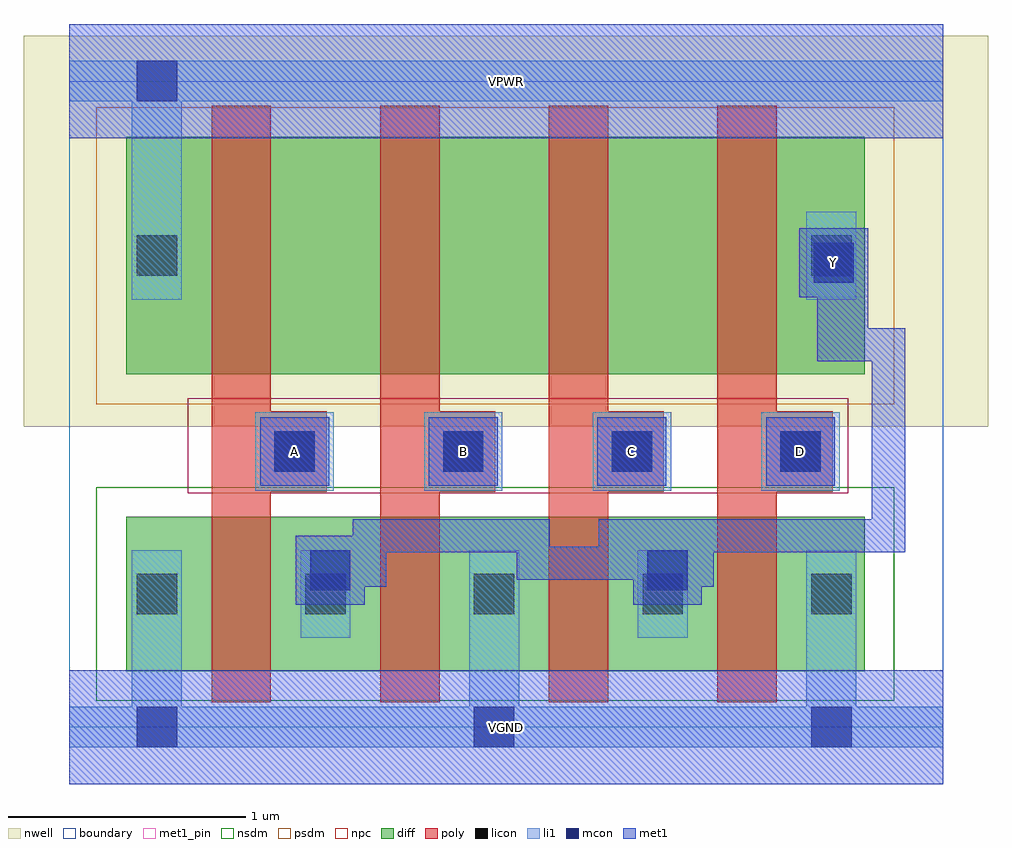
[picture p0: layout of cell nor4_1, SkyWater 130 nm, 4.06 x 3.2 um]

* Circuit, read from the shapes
.subckt nor4_1 A B C D VGND VPWR Y
XM1 Y A VGND VSUBS sky130_fd_pr__nfet_01v8 w=0.65 l=0.25
XM2 VGND B Y VSUBS sky130_fd_pr__nfet_01v8 w=0.65 l=0.25
XM3 Y C VGND VSUBS sky130_fd_pr__nfet_01v8 w=0.65 l=0.25
XM4 VGND D Y VSUBS sky130_fd_pr__nfet_01v8 w=0.65 l=0.25
XM5 n1 A VPWR n2 sky130_fd_pr__pfet_01v8 w=1 l=0.25
XM6 n3 B n1 n2 sky130_fd_pr__pfet_01v8 w=1 l=0.25
XM7 n4 C n3 n2 sky130_fd_pr__pfet_01v8 w=1 l=0.25
XM8 Y D n4 n2 sky130_fd_pr__pfet_01v8 w=1 l=0.25
.ends

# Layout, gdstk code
import gdstk
lib = gdstk.Library(unit=1e-6, precision=1e-09)
def R(c, l, rs):  # rectangles x0, y0, x1, y1
    for r in rs: c.add(gdstk.rectangle(r[:2], r[2:], *l))
def A(c, l, x, y, w, h, nx, ny, dx, dy):  # array of equal rectangles
    R(c, l, [(x+i*dx, y+j*dy, x+i*dx+w, y+j*dy+h) for i in range(nx) for j in range(ny)])
nwell = (64, 20)
diff = (65, 20)
poly = (66, 20)
licon = (66, 44)
li1 = (67, 20)
mcon = (67, 44)
met1_pin = (68, 16)
met1 = (68, 20)
nsdm = (93, 44)
psdm = (94, 20)
npc = (95, 20)
boundary = (235, 4)

nor4_1 = lib.new_cell('nor4_1')
R(nor4_1, nwell, [(-0.19,1.265,3.87,2.91), (0,1.265,3.68,2.91)])
R(nor4_1, diff, [(0.24,0.235,3.35,0.885), (0.24,1.485,3.35,2.485)])
A(nor4_1, poly, 0.6, 0.105, 0.25, 2.51, 4, 1, 0.71, 0)
A(nor4_1, poly, 0.6, 0.99, 0.485, 0.34, 4, 1, 0.71, 0)
A(nor4_1, licon, 0.285, 0.475, 0.17, 0.17, 5, 1, 0.71, 0)
A(nor4_1, licon, 0.865, 1.075, 0.17, 0.17, 4, 1, 0.71, 0)
R(nor4_1, licon, [(0.285,1.9,0.455,2.07), (3.125,1.9,3.295,2.07)])
A(nor4_1, li1, 0.265, -0.085, 0.21, 0.83, 3, 1, 1.42, 0)
A(nor4_1, li1, 0.785, 0.995, 0.33, 0.33, 4, 1, 0.71, 0)
R(nor4_1, li1, [(0,-0.085,3.68,0.085), (0.975,0.375,1.185,0.745), (2.395,0.375,2.605,0.745), (0.265,1.8,0.475,2.805), (3.105,1.8,3.315,2.17), (0,2.635,3.68,2.805)])
A(nor4_1, mcon, 0.285, -0.085, 0.17, 0.17, 3, 1, 1.42, 0)
A(nor4_1, mcon, 0.865, 1.075, 0.17, 0.17, 4, 1, 0.71, 0)
R(nor4_1, mcon, [(1.015,0.575,1.185,0.745), (2.435,0.575,2.605,0.745), (3.135,1.87,3.305,2.04), (0.285,2.635,0.455,2.805)])
A(nor4_1, met1_pin, 0.805, 1.015, 0.29, 0.29, 4, 1, 0.71, 0)
R(nor4_1, met1_pin, [(0,-0.24,3.68,0.24), (3.075,1.81,3.365,2.1), (0,2.48,3.68,2.96)])
A(nor4_1, met1, 0.805, 1.015, 0.29, 0.29, 4, 1, 0.71, 0)
R(nor4_1, met1, [(0,-0.24,3.68,0.24), (0.955,0.515,1.245,0.805), (2.375,0.515,2.665,0.805), (1.03,0.59,1.335,0.73), (1.195,0.59,1.335,0.875), (2.45,0.59,2.715,0.73), (2.575,0.59,2.715,0.875), (1.885,0.62,2.37,0.76), (1.885,0.62,2.025,0.875), (2.23,0.62,2.37,0.875), (2.37,0.62,2.375,0.805), (2.37,0.62,2.45,0.73), (2.37,0.62,2.375,0.76), (2.37,0.73,2.45,0.735), (2.45,0.73,2.715,0.735), (1.195,0.735,2.025,0.875), (2.23,0.735,2.715,0.875), (2.575,0.735,3.52,0.875), (3.38,0.735,3.52,1.68), (3.15,1.54,3.29,2.025), (3.15,1.54,3.52,1.68), (3.15,1.68,3.365,1.81), (3.075,1.81,3.365,2.1), (0,2.48,3.68,2.96)])
R(nor4_1, nsdm, [(0.115,0.11,3.475,1.01)])
R(nor4_1, psdm, [(0.115,1.36,3.475,2.61)])
R(nor4_1, npc, [(0.5,0.985,3.28,1.385)])
R(nor4_1, boundary, [(0,0,3.68,2.72)])
nor4_1.add(gdstk.Label('A', (0.95,1.16), layer=68, texttype=5))
nor4_1.add(gdstk.Label('B', (1.66,1.16), layer=68, texttype=5))
nor4_1.add(gdstk.Label('C', (2.37,1.16), layer=68, texttype=5))
nor4_1.add(gdstk.Label('D', (3.08,1.16), layer=68, texttype=5))
nor4_1.add(gdstk.Label('Y', (3.22,1.955), layer=68, texttype=5))
nor4_1.add(gdstk.Label('VPWR', (1.84,2.72), layer=68, texttype=5))
nor4_1.add(gdstk.Label('VGND', (1.84,0), layer=68, texttype=5))
nor4_1.add(gdstk.Label('A', (0.95,1.16), layer=68, texttype=16))
nor4_1.add(gdstk.Label('B', (1.66,1.16), layer=68, texttype=16))
nor4_1.add(gdstk.Label('C', (2.37,1.16), layer=68, texttype=16))
nor4_1.add(gdstk.Label('D', (3.08,1.16), layer=68, texttype=16))
nor4_1.add(gdstk.Label('Y', (3.22,1.955), layer=68, texttype=16))
nor4_1.add(gdstk.Label('VPWR', (1.84,2.72), layer=68, texttype=16))
nor4_1.add(gdstk.Label('VGND', (1.84,0), layer=68, texttype=16))

lib.write_gds('nor4_1.gds')
